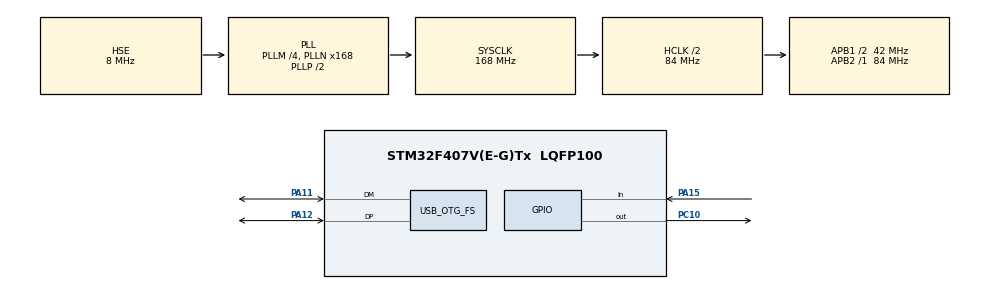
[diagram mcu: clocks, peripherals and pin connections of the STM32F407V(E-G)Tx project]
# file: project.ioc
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Mcu.Family=STM32F4
Mcu.Name=STM32F407V(E-G)Tx
Mcu.Package=LQFP100
NVIC.OTG_FS_IRQn=true\:0\:0\:false\:false\:true\:false\:true\:true
NVIC.PriorityGroup=NVIC_PRIORITYGROUP_4
PA11.Mode=Device_Only
PA11.Signal=USB_OTG_FS_DM
PA12.Mode=Device_Only
PA12.Signal=USB_OTG_FS_DP
PA15.Signal=GPIO_Input
PC10.Signal=GPIO_Output
PH0-OSC_IN.Mode=HSE-External-Oscillator
PH0-OSC_IN.Signal=RCC_OSC_IN
PH1-OSC_OUT.Mode=HSE-External-Oscillator
PH1-OSC_OUT.Signal=RCC_OSC_OUT
ProjectManager.HeapSize=0x200
ProjectManager.StackSize=0x400
ProjectManager.TargetToolchain=STM32CubeIDE
RCC.48MHZClocksFreq_Value=48000000
RCC.AHBCLKDivider=RCC_SYSCLK_DIV2
RCC.AHBFreq_Value=84000000
RCC.APB1CLKDivider=RCC_HCLK_DIV2
RCC.APB1Freq_Value=42000000
RCC.APB1TimFreq_Value=84000000
RCC.APB2Freq_Value=84000000
RCC.APB2TimFreq_Value=84000000
RCC.CortexFreq_Value=84000000
RCC.HCLKFreq_Value=84000000
RCC.HSE_VALUE=8000000
RCC.HSI_VALUE=16000000
RCC.LSE_VALUE=32768
RCC.PLLM=4
RCC.PLLN=168
RCC.PLLQ=7
RCC.SYSCLKFreq_VALUE=168000000
RCC.SYSCLKSource=RCC_SYSCLKSOURCE_PLLCLK
RCC.VCOOutputFreq_Value=336000000
USB_DEVICE.CLASS_NAME_FS=CDC
USB_DEVICE.VirtualMode-CDC_FS=Cdc
USB_DEVICE.VirtualModeFS=Cdc_FS
USB_OTG_FS.VirtualMode=Device_Only
VP_USB_DEVICE_VS_USB_DEVICE_CDC_FS.Mode=CDC_FS
board=custom

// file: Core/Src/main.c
/* USER CODE BEGIN Header */
/**
  ******************************************************************************
  * @file           : main.c
  * @brief          : Main program body
  ******************************************************************************
  * @attention
  *
  * Copyright (c) 2023 STMicroelectronics.
  * All rights reserved.
  *
  * This software is licensed under terms that can be found in the LICENSE file
  * in the root directory of this software component.
  * If no LICENSE file comes with this software, it is provided AS-IS.
  *
  ******************************************************************************
  */
/* USER CODE END Header */
#include "main.h"
#include "usb_device.h"

/* USER CODE BEGIN Includes */
#include "usbd_cdc_if.h"
/* USER CODE END Includes */

void SystemClock_Config(void);
static void MX_GPIO_Init(void);

/* USER CODE BEGIN 0 */
uint8_t pin_state=0;
uint8_t bit_state=0;
uint8_t Receive_Character;
uint8_t receivebuffer[20];
/* USER CODE END 0 */

int main(void)
{

  /* MCU Configuration--------------------------------------------------------*/

  /* Reset of all peripherals, Initializes the Flash interface and the Systick. */
  HAL_Init();

  /* Configure the system clock */
  SystemClock_Config();

  /* Initialize all configured peripherals */
  MX_GPIO_Init();
  MX_USB_DEVICE_Init();

  /* Infinite loop */
  while (1)
  {

    /* USER CODE BEGIN 3 */
      if(receivebuffer[0] != 0x00) {
    	  Receive_Character=0;
    	  for(int i=0; i<8; i++) {
    		  if((receivebuffer[0] & 1<<i) > 0) bit_state=1;
    		  else bit_state=0;

    		  HAL_GPIO_WritePin(GPIOC, GPIO_PIN_10, bit_state);
    		  pin_state=HAL_GPIO_ReadPin(GPIOA, GPIO_PIN_15);
    		  Receive_Character = Receive_Character | pin_state << i;
    		  HAL_Delay(250);
    	  }
    	  receivebuffer[0] = 0x00;
      }

  }
  /* USER CODE END 3 */
}

void SystemClock_Config(void)
{
  RCC_OscInitTypeDef RCC_OscInitStruct = {0};
  RCC_ClkInitTypeDef RCC_ClkInitStruct = {0};

  /** Configure the main internal regulator output voltage
  */
  __HAL_RCC_PWR_CLK_ENABLE();
  __HAL_PWR_VOLTAGESCALING_CONFIG(PWR_REGULATOR_VOLTAGE_SCALE1);

  /** Initializes the RCC Oscillators according to the specified parameters
  * in the RCC_OscInitTypeDef structure.
  */
  RCC_OscInitStruct.OscillatorType = RCC_OSCILLATORTYPE_HSE;
  RCC_OscInitStruct.HSEState = RCC_HSE_ON;
  RCC_OscInitStruct.PLL.PLLState = RCC_PLL_ON;
  RCC_OscInitStruct.PLL.PLLSource = RCC_PLLSOURCE_HSE;
  RCC_OscInitStruct.PLL.PLLM = 4;
  RCC_OscInitStruct.PLL.PLLN = 168;
  RCC_OscInitStruct.PLL.PLLP = RCC_PLLP_DIV2;
  RCC_OscInitStruct.PLL.PLLQ = 7;
  if (HAL_RCC_OscConfig(&RCC_OscInitStruct) != HAL_OK)
  {
    Error_Handler();
  }

  /** Initializes the CPU, AHB and APB buses clocks
  */
  RCC_ClkInitStruct.ClockType = RCC_CLOCKTYPE_HCLK|RCC_CLOCKTYPE_SYSCLK
                              |RCC_CLOCKTYPE_PCLK1|RCC_CLOCKTYPE_PCLK2;
  RCC_ClkInitStruct.SYSCLKSource = RCC_SYSCLKSOURCE_PLLCLK;
  RCC_ClkInitStruct.AHBCLKDivider = RCC_SYSCLK_DIV2;
  RCC_ClkInitStruct.APB1CLKDivider = RCC_HCLK_DIV2;
  RCC_ClkInitStruct.APB2CLKDivider = RCC_HCLK_DIV1;

  if (HAL_RCC_ClockConfig(&RCC_ClkInitStruct, FLASH_LATENCY_2) != HAL_OK)
  {
    Error_Handler();
  }
}

static void MX_GPIO_Init(void)
{
  GPIO_InitTypeDef GPIO_InitStruct = {0};

  /* GPIO Ports Clock Enable */
  __HAL_RCC_GPIOH_CLK_ENABLE();
  __HAL_RCC_GPIOA_CLK_ENABLE();
  __HAL_RCC_GPIOC_CLK_ENABLE();

  /*Configure GPIO pin Output Level */
  HAL_GPIO_WritePin(GPIOC, GPIO_PIN_10, GPIO_PIN_RESET);

  /*Configure GPIO pin : PA15 */
  GPIO_InitStruct.Pin = GPIO_PIN_15;
  GPIO_InitStruct.Mode = GPIO_MODE_INPUT;
  GPIO_InitStruct.Pull = GPIO_NOPULL;
  HAL_GPIO_Init(GPIOA, &GPIO_InitStruct);

  /*Configure GPIO pin : PC10 */
  GPIO_InitStruct.Pin = GPIO_PIN_10;
  GPIO_InitStruct.Mode = GPIO_MODE_OUTPUT_PP;
  GPIO_InitStruct.Pull = GPIO_NOPULL;
  GPIO_InitStruct.Speed = GPIO_SPEED_FREQ_LOW;
  HAL_GPIO_Init(GPIOC, &GPIO_InitStruct);

}

void Error_Handler(void)
{
  __disable_irq();
  while (1)
  {
  }
}
